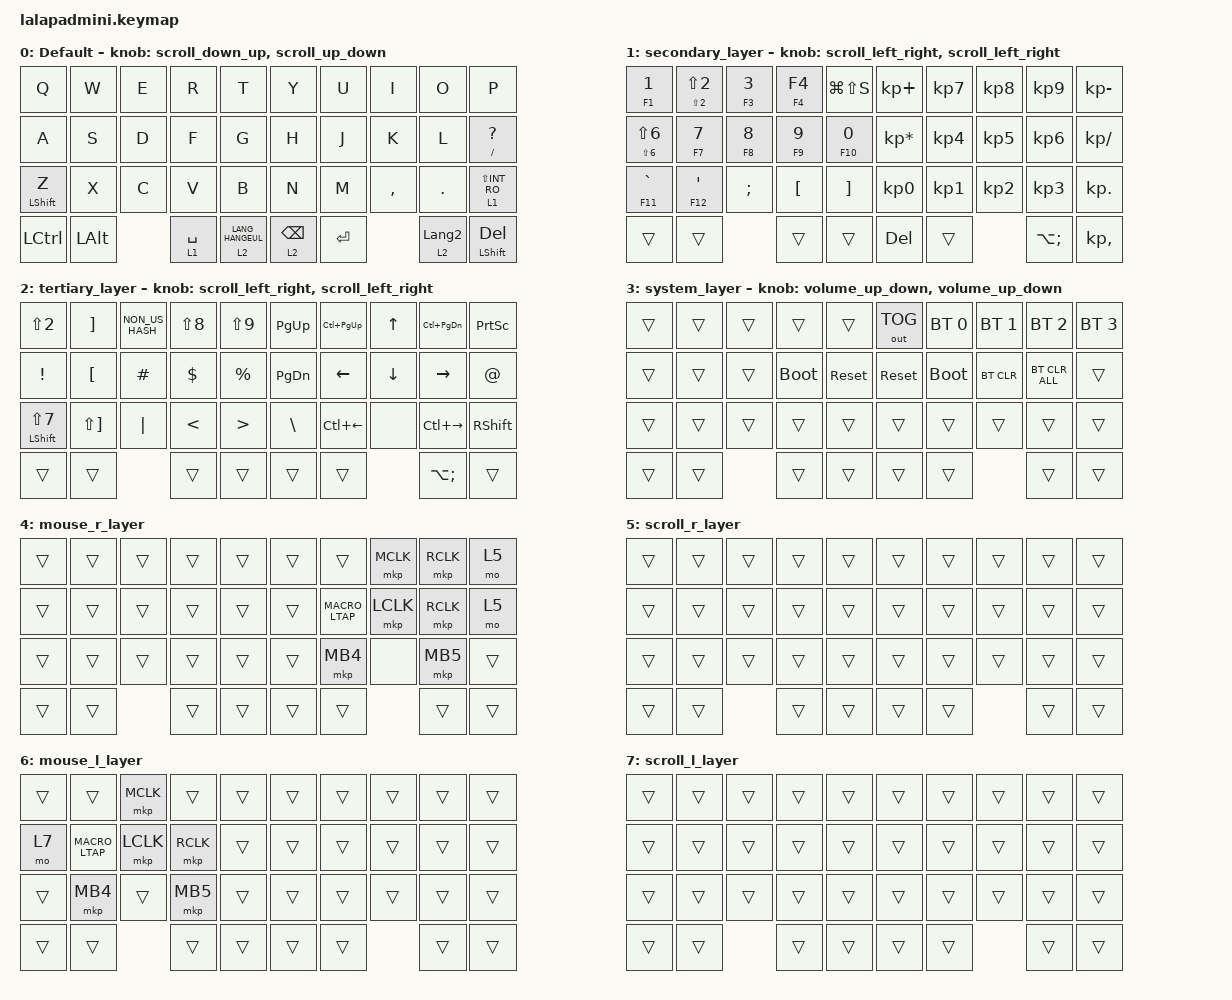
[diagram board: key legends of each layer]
#include <input/processors.dtsi>
#include <behaviors.dtsi>
#include <dt-bindings/zmk/bt.h>
#include <dt-bindings/zmk/keys.h>
#include <dt-bindings/zmk/outputs.h>
#include <dt-bindings/zmk/pointing.h>

#define DEFAULT_LAYER   0
#define SECONDARY_LAYER 1
#define TERTIARY_LAYER  2
#define SYSTEM_LAYER    3
#define MOUSE_R_LAYER   4
#define SCROLL_R_LAYER  5
#define MOUSE_L_LAYER   6
#define SCROLL_L_LAYER  7

// Mouse Scroll Value

#define ZMK_POINTING_DEFAULT_SCRL_VAL 100

// cirque trackpad input&layer control

&glidepoint_listener_R {
    input-processors =
        <&zip_xy_transform (INPUT_TRANSFORM_XY_SWAP | INPUT_TRANSFORM_X_INVERT | INPUT_TRANSFORM_Y_INVERT)>,
        <&zip_xy_scaler 3 2>,
        <&zip_temp_layer MOUSE_R_LAYER 300>;

    lowspeedmode {
        layers = <SECONDARY_LAYER>;
        input-processors =
            <&zip_xy_transform (INPUT_TRANSFORM_XY_SWAP | INPUT_TRANSFORM_X_INVERT | INPUT_TRANSFORM_Y_INVERT)>,
            <&zip_xy_scaler 3 5>,
            <&zip_temp_layer MOUSE_R_LAYER 300>;
    };

    scroller {
        layers = <SCROLL_R_LAYER>;
        input-processors =
            <&zip_xy_to_scroll_mapper>,
            <&zip_scroll_transform (INPUT_TRANSFORM_XY_SWAP | INPUT_TRANSFORM_Y_INVERT)>,
            <&zip_scroll_scaler 1 32>;
    };
};

&glidepoint_listener_L {
    input-processors =
        <&zip_xy_transform (INPUT_TRANSFORM_XY_SWAP | INPUT_TRANSFORM_X_INVERT | INPUT_TRANSFORM_Y_INVERT)>,
        <&zip_xy_scaler 3 2>,
        <&zip_temp_layer MOUSE_L_LAYER 300>;

    lowspeedmode {
        layers = <TERTIARY_LAYER>;
        input-processors =
            <&zip_xy_transform (INPUT_TRANSFORM_XY_SWAP | INPUT_TRANSFORM_X_INVERT | INPUT_TRANSFORM_Y_INVERT)>,
            <&zip_xy_scaler 3 4>,
            <&zip_temp_layer MOUSE_L_LAYER 300>;
    };

    scroller {
        layers = <SCROLL_L_LAYER>;
        input-processors =
            <&zip_xy_to_scroll_mapper>,
            <&zip_scroll_transform (INPUT_TRANSFORM_XY_SWAP | INPUT_TRANSFORM_Y_INVERT)>,
            <&zip_scroll_scaler 1 32>;
    };
};

&mt { quick-tap-ms = <200>; };

&lt { quick-tap-ms = <200>; };

/ {
    behaviors {
        // Encoder to Mouse Scroll

        scroll_up_down: behavior_sensor_rotate_mouse_wheel_up_down {
            compatible = "zmk,behavior-sensor-rotate";
            #sensor-binding-cells = <0>;
            bindings = <&msc SCRL_UP>, <&msc SCRL_DOWN>;

            tap-ms = <20>;
        };

        scroll_down_up: behavior_sensor_rotate_mouse_wheel_down_up {
            compatible = "zmk,behavior-sensor-rotate";
            #sensor-binding-cells = <0>;
            bindings = <&msc SCRL_DOWN>, <&msc SCRL_UP>;

            tap-ms = <20>;
        };

        scroll_left_right: behavior_sensor_rotate_mouse_wheel_left_right {
            compatible = "zmk,behavior-sensor-rotate";
            #sensor-binding-cells = <0>;
            bindings = <&msc SCRL_LEFT>, <&msc SCRL_RIGHT>;

            tap-ms = <20>;
        };

        scroll_right_left: behavior_sensor_rotate_mouse_wheel_right_left {
            compatible = "zmk,behavior-sensor-rotate";
            #sensor-binding-cells = <0>;
            bindings = <&msc SCRL_RIGHT>, <&msc SCRL_LEFT>;

            tap-ms = <20>;
        };

        volume_up_down: behavior_sensor_rotate_volume_up_down {
            compatible = "zmk,behavior-sensor-rotate";
            #sensor-binding-cells = <0>;
            bindings = <&kp C_VOLUME_UP>, <&kp C_VOLUME_DOWN>;

            tap-ms = <20>;
        };

        mt2: mod_tap2 {
            compatible = "zmk,behavior-hold-tap";
            #binding-cells = <2>;
            flavor = "tap-preferred";
            tapping-term-ms = <200>;
            quick-tap-ms = <200>;
            require-prior-idle-ms = <125>;
            bindings = <&kp>, <&kp>;
        };

        tap_dance_layer_1and2: tap_dance_layer_1and2 {
            compatible = "zmk,behavior-tap-dance";
            label = "td_mo12";
            #binding-cells = <0>;
            bindings = <&mo 1>, <&mo 2>;
        };
    };

    combos {
        compatible = "zmk,combos";

        CONBO_ESC {
            bindings = <&kp ESCAPE>;
            key-positions = <0 1>;
        };

        COMBO_TAB {
            bindings = <&kp TAB>;
            key-positions = <10 11>;
        };

        COMBO_WIN {
            bindings = <&kp LWIN>;
            key-positions = <30 31>;
        };
    };

    macros {
        MACRO_LTAP: MACRO_LTAP {
            compatible = "zmk,behavior-macro";
            #binding-cells = <0>;
            bindings = <&mkp LCLK>;
            label = "MACRO_LTAP";
        };
    };

    keymap {
        compatible = "zmk,keymap";

        DEFAULT_LAYER {
            display-name = "Default";
            sensor-bindings = <&scroll_down_up>, <&scroll_up_down>;

            bindings = <
&kp Q             &kp W         &kp E  &kp R        &kp T               &kp Y            &kp U      &kp I      &kp O             &kp P
&kp A             &kp S         &kp D  &kp F        &kp G               &kp H            &kp J      &kp K      &kp L             &mt2 SLASH QUESTION
&mt LEFT_SHIFT Z  &kp X         &kp C  &kp V        &kp B               &kp N            &kp M      &kp COMMA  &kp PERIOD        &lt 1 LS(INT_RO)
&kp LCTRL         &kp LEFT_ALT         &lt 1 SPACE  &lt 2 LANG_HANGEUL  &lt 2 BACKSPACE  &kp ENTER             &lt 2 LANGUAGE_2  &mt2 LEFT_SHIFT DELETE
            >;
        };

        SECONDARY_LAYER {
            display-name = "secondary_layer";
            sensor-bindings = <&scroll_left_right>, <&scroll_left_right>;

            bindings = <
&mt2 F1 NUMBER_1                &mt2 LS(NUMBER_2) LS(NUMBER_2)  &mt2 F3 NUMBER_3  &mt2 F4 F4        &kp LG(LS(S))      &kp KP_PLUS      &kp KP_NUMBER_7  &kp KP_NUMBER_8  &kp KP_NUMBER_9  &kp KP_MINUS
&mt2 LS(NUMBER_6) LS(NUMBER_6)  &mt2 F7 N7                      &mt2 F8 N8        &mt2 F9 N9        &mt2 F10 N0        &kp KP_MULTIPLY  &kp KP_NUMBER_4  &kp KP_NUMBER_5  &kp KP_NUMBER_6  &kp KP_SLASH
&mt2 F11 GRAVE                  &mt2 F12 SQT                    &kp SEMICOLON     &kp LEFT_BRACKET  &kp RIGHT_BRACKET  &kp KP_NUMBER_0  &kp KP_NUMBER_1  &kp KP_NUMBER_2  &kp KP_NUMBER_3  &kp KP_DOT
&trans                          &trans                                            &trans            &trans             &kp DELETE       &trans                            &kp LA(SEMI)     &kp KP_COMMA
            >;
        };

        TERTIARY_LAYER {
            display-name = "tertiary_layer";
            bindings = <
&kp LS(NUMBER_2)             &kp RIGHT_BRACKET      &kp NON_US_HASH  &kp LS(NUMBER_8)  &kp LS(NUMBER_9)  &kp PAGE_UP    &kp LC(PAGE_UP)     &kp UP_ARROW  &kp LC(PAGE_DOWN)    &kp PRINTSCREEN
&kp EXCL                     &kp LEFT_BRACKET       &kp POUND        &kp DOLLAR        &kp PRCNT         &kp PAGE_DOWN  &kp LEFT            &kp DOWN      &kp RIGHT            &kp AT_SIGN
&mt LEFT_SHIFT LS(NUMBER_7)  &kp LS(RIGHT_BRACKET)  &kp PIPE         &kp LESS_THAN     &kp GREATER_THAN  &kp BACKSLASH  &kp LC(LEFT_ARROW)  &none         &kp LC(RIGHT_ARROW)  &kp RIGHT_SHIFT
&trans                       &trans                                  &trans            &trans            &trans         &trans                            &kp LA(SEMICOLON)    &trans
            >;

            sensor-bindings = <&scroll_left_right>, <&scroll_left_right>;
        };

        SYSTEM_LAYER {
            display-name = "system_layer";
            sensor-bindings = <&volume_up_down>, <&volume_up_down>;

            bindings = <
&trans  &trans  &trans  &trans       &trans      &out OUT_TOG  &bt BT_SEL 0  &bt BT_SEL 1  &bt BT_SEL 2    &bt BT_SEL 3
&trans  &trans  &trans  &bootloader  &sys_reset  &sys_reset    &bootloader   &bt BT_CLR    &bt BT_CLR_ALL  &trans
&trans  &trans  &trans  &trans       &trans      &trans        &trans        &trans        &trans          &trans
&trans  &trans          &trans       &trans      &trans        &trans                      &trans          &trans
            >;
        };

        MOUSE_R_LAYER {
            display-name = "mouse_r_layer";
            bindings = <
&trans  &trans  &trans  &trans  &trans  &trans  &trans       &mkp MCLK  &mkp RCLK  &mo 5
&trans  &trans  &trans  &trans  &trans  &trans  &MACRO_LTAP  &mkp LCLK  &mkp RCLK  &mo 5
&trans  &trans  &trans  &trans  &trans  &trans  &mkp MB4     &none      &mkp MB5   &trans
&trans  &trans          &trans  &trans  &trans  &trans                  &trans     &trans
            >;
        };

        SCROLL_R_LAYER {
            display-name = "scroll_r_layer";
            bindings = <
&trans  &trans  &trans  &trans  &trans  &trans  &trans  &trans  &trans  &trans
&trans  &trans  &trans  &trans  &trans  &trans  &trans  &trans  &trans  &trans
&trans  &trans  &trans  &trans  &trans  &trans  &trans  &trans  &trans  &trans
&trans  &trans          &trans  &trans  &trans  &trans          &trans  &trans
            >;
        };

        MOUSE_L_LAYER {
            display-name = "mouse_l_layer";
            bindings = <
&trans  &trans       &mkp MCLK  &trans     &trans  &trans  &trans  &trans  &trans  &trans
&mo 7   &MACRO_LTAP  &mkp LCLK  &mkp RCLK  &trans  &trans  &trans  &trans  &trans  &trans
&trans  &mkp MB4     &trans     &mkp MB5   &trans  &trans  &trans  &trans  &trans  &trans
&trans  &trans                  &trans     &trans  &trans  &trans          &trans  &trans
            >;
        };

        SCROLL_L_LAYER {
            display-name = "scroll_l_layer";
            bindings = <
&trans  &trans  &trans  &trans  &trans  &trans  &trans  &trans  &trans  &trans
&trans  &trans  &trans  &trans  &trans  &trans  &trans  &trans  &trans  &trans
&trans  &trans  &trans  &trans  &trans  &trans  &trans  &trans  &trans  &trans
&trans  &trans          &trans  &trans  &trans  &trans          &trans  &trans
            >;
        };
    };

    conditional_layers {
        compatible = "zmk,conditional-layers";

        System_layer {
            if-layers = <1 2>;
            then-layer = <3>;
        };
    };
};
